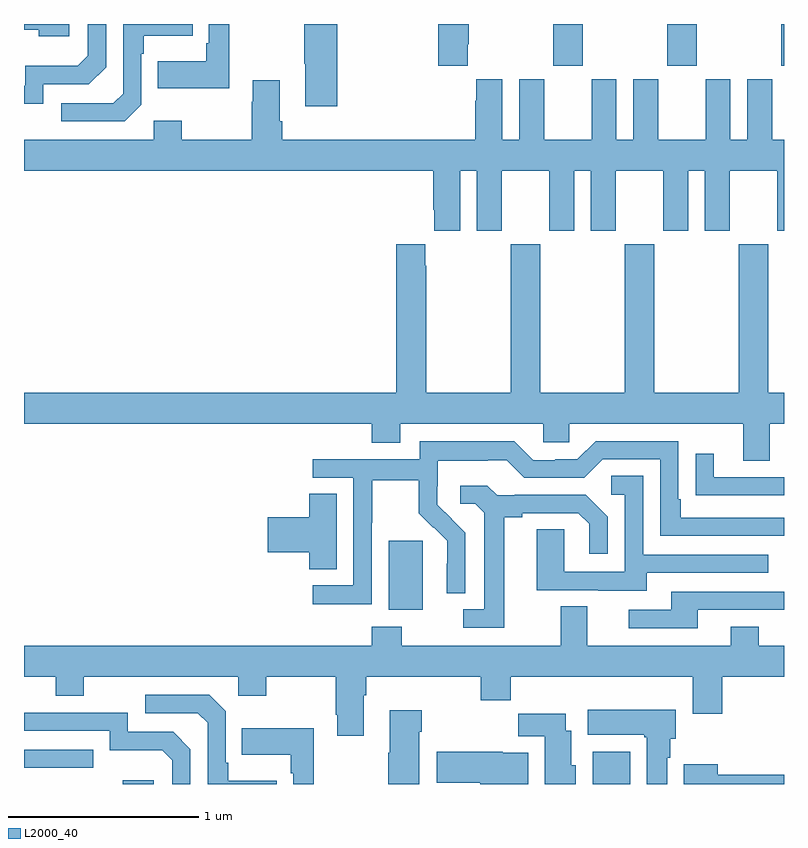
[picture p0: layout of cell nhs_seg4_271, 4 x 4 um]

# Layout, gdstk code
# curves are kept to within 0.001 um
import gdstk
lib = gdstk.Library(unit=1e-6, precision=1e-09)
def R(c, l, rs):  # rectangles x0, y0, x1, y1
    for r in rs: c.add(gdstk.rectangle(r[:2], r[2:], *l))
def P(c, l, *ps):  # polygons
    for p in ps: c.add(gdstk.Polygon(p, *l))
L2000_40 = (2000, 40)

nhs_seg4_271 = lib.new_cell('nhs_seg4_271')
R(nhs_seg4_271, L2000_40, [(123.521,818.9,123.682,818.92), (125.993,818.9,126.19,819.07), (123,818.985,123.365,819.081), (124.919,819.818,125.098,820.179), (125.785,822.681,125.94,822.9), (126.385,822.681,126.54,822.9), (126.985,822.681,127,822.9)])
P(nhs_seg4_271, L2000_40, [(124.081,822.9),(123.972,822.9),(123.972,822.799),(123.96,822.799),(123.96,822.703),(123.703,822.703),(123.703,822.563),(124.081,822.563)],
  [(123.238,822.9),(123,822.9),(123,822.87),(123.077,822.87),(123.077,822.836),(123.238,822.836)],
  [(125.335,822.793),(125.34,822.793),(125.34,822.9),(125.18,822.9),(125.18,822.681),(125.335,822.681)],
  [(123.618,822.474),(123.618,822.743),(123.631,822.743),(123.631,822.839),(123.887,822.839),(123.887,822.9),(123.522,822.9),(123.522,822.534),(123.471,822.483),(123.195,822.483),(123.195,822.387),(123.531,822.387)],
  [(124.649,822.9),(124.474,822.9),(124.474,822.691),(124.481,822.691),(124.481,822.468),(124.649,822.468)],
  [(123.102,822.582),(123.342,822.582),(123.432,822.672),(123.432,822.9),(123.336,822.9),(123.336,822.732),(123.283,822.679),(123.006,822.679),(123.006,822.576),(123,822.576),(123,822.48),(123.102,822.48)],
  [(125.296,822.128),(125.384,822.128),(125.384,821.811),(125.515,821.811),(125.515,822.128),(125.765,822.128),(125.765,821.811),(125.896,821.811),(125.896,822.128),(125.984,822.128),(125.984,821.811),(126.115,821.811),(126.115,822.128),(126.365,822.128),(126.365,821.811),(126.496,821.811),(126.496,822.128),(126.584,822.128),(126.584,821.811),(126.715,821.811),(126.715,822.128),(126.965,822.128),(126.965,821.811),(127,821.811),(127,822.292),(126.937,822.292),(126.937,822.61),(126.806,822.61),(126.806,822.292),(126.718,822.292),(126.718,822.61),(126.587,822.61),(126.587,822.292),(126.337,822.292),(126.337,822.61),(126.206,822.61),(126.206,822.292),(126.118,822.292),(126.118,822.61),(125.987,822.61),(125.987,822.292),(125.737,822.292),(125.737,822.61),(125.606,822.61),(125.606,822.292),(125.518,822.292),(125.518,822.61),(125.381,822.61),(125.381,822.497),(125.375,822.497),(125.375,822.292),(124.358,822.292),(124.358,822.388),(124.345,822.388),(124.345,822.604),(124.205,822.604),(124.205,822.491),(124.198,822.491),(124.198,822.292),(123.831,822.292),(123.831,822.391),(123.684,822.391),(123.684,822.292),(123,822.292),(123,822.128),(125.153,822.128),(125.153,821.923),(125.159,821.923),(125.159,821.811),(125.296,821.811)],
  [(126.925,820.796),(127,820.796),(127,820.96),(126.918,820.96),(126.918,821.74),(126.763,821.74),(126.763,820.96),(126.318,820.96),(126.318,821.74),(126.163,821.74),(126.163,820.96),(125.718,820.96),(125.718,821.74),(125.563,821.74),(125.563,820.96),(125.118,820.96),(125.118,821.627),(125.113,821.627),(125.113,821.74),(124.958,821.74),(124.958,820.96),(123,820.96),(123,820.796),(124.829,820.796),(124.829,820.697),(124.981,820.697),(124.981,820.796),(125.733,820.796),(125.733,820.698),(125.871,820.698),(125.871,820.796),(126.785,820.796),(126.785,820.602),(126.925,820.602)],
  [(124.83,820.276),(124.833,820.276),(124.833,820.5),(125.077,820.5),(125.077,820.325),(125.154,820.248),(125.157,820.251),(125.228,820.181),(125.228,820.058),(125.226,820.058),(125.226,819.904),(125.322,819.904),(125.322,820.222),(125.176,820.37),(125.176,820.467),(125.178,820.467),(125.178,820.601),(125.441,820.601),(125.441,820.605),(125.541,820.605),(125.634,820.512),(125.949,820.512),(126.045,820.608),(126.348,820.608),(126.348,820.206),(127,820.206),(127,820.302),(126.457,820.302),(126.457,820.399),(126.444,820.399),(126.444,820.704),(126.009,820.704),(125.913,820.608),(125.795,820.608),(125.795,820.605),(125.679,820.605),(125.579,820.705),(125.082,820.705),(125.082,820.608),(124.521,820.608),(124.521,820.512),(124.734,820.512),(124.734,819.945),(124.521,819.945),(124.521,819.847),(124.83,819.847)],
  [(127,820.515),(126.631,820.515),(126.631,820.639),(126.535,820.639),(126.535,820.42),(126.637,820.42),(126.637,820.419),(127,820.419)],
  [(126.277,820.011),(126.917,820.011),(126.917,820.107),(126.258,820.107),(126.258,820.523),(126.09,820.523),(126.09,820.422),(126.162,820.422),(126.162,820.017),(125.844,820.017),(125.844,820.241),(125.699,820.241),(125.699,819.921),(126.023,819.921),(126.023,819.917),(126.277,819.917)],
  [(125.527,820.304),(125.623,820.304),(125.623,820.326),(125.918,820.326),(125.975,820.269),(125.975,820.113),(126.072,820.113),(126.072,820.306),(125.956,820.422),(125.584,820.422),(125.584,820.419),(125.49,820.419),(125.438,820.471),(125.295,820.471),(125.295,820.374),(125.376,820.374),(125.423,820.327),(125.423,819.819),(125.313,819.819),(125.313,819.723),(125.527,819.723)],
  [(124.645,820.427),(124.502,820.427),(124.502,820.304),(124.284,820.304),(124.284,820.121),(124.502,820.121),(124.502,820.03),(124.645,820.03)],
  [(126.547,819.816),(127,819.816),(127,819.912),(126.407,819.912),(126.407,819.816),(126.183,819.816),(126.183,819.72),(126.547,819.72)],
  [(126.719,819.727),(126.719,819.628),(125.965,819.628),(125.965,819.836),(125.825,819.836),(125.825,819.628),(124.989,819.628),(124.989,819.727),(124.829,819.727),(124.829,819.628),(123,819.628),(123,819.464),(123.167,819.464),(123.167,819.365),(123.315,819.365),(123.315,819.464),(124.128,819.464),(124.128,819.365),(124.275,819.365),(124.275,819.464),(124.642,819.464),(124.642,819.265),(124.649,819.265),(124.649,819.153),(124.789,819.153),(124.789,819.368),(124.802,819.368),(124.802,819.464),(125.405,819.464),(125.405,819.34),(125.561,819.34),(125.561,819.464),(126.521,819.464),(126.521,819.27),(126.674,819.27),(126.674,819.464),(127,819.464),(127,819.628),(126.867,819.628),(126.867,819.727)],
  [(124.331,818.917),(124.075,818.917),(124.075,819.013),(124.062,819.013),(124.062,819.282),(123.975,819.369),(123.639,819.369),(123.639,819.273),(123.915,819.273),(123.966,819.222),(123.966,818.9),(124.331,818.9)],
  [(126.385,819.038),(126.4,819.038),(126.4,819.138),(126.43,819.138),(126.43,819.292),(125.966,819.292),(125.966,819.158),(126.265,819.158),(126.265,819.145),(126.278,819.145),(126.278,818.9),(126.385,818.9)],
  [(125.08,819.176),(125.093,819.176),(125.093,819.289),(124.925,819.289),(124.925,819.065),(124.918,819.065),(124.918,818.9),(125.08,818.9)],
  [(123.876,819.084),(123.786,819.174),(123.546,819.174),(123.546,819.276),(123,819.276),(123,819.18),(123.45,819.18),(123.45,819.077),(123.727,819.077),(123.78,819.024),(123.78,818.9),(123.876,818.9)],
  [(125.905,819),(125.881,819),(125.881,819.181),(125.851,819.181),(125.851,819.271),(125.602,819.271),(125.602,819.152),(125.741,819.152),(125.741,818.9),(125.905,818.9)],
  [(124.525,819.193),(124.147,819.193),(124.147,819.053),(124.404,819.053),(124.404,818.957),(124.416,818.957),(124.416,818.9),(124.525,818.9)],
  [(125.653,819.064),(125.52,819.064),(125.52,819.07),(125.172,819.07),(125.172,818.906),(125.402,818.906),(125.402,818.9),(125.653,818.9)],
  [(127,818.948),(126.652,818.948),(126.652,819.004),(126.473,819.004),(126.473,818.9),(127,818.9)])

lib.write_gds('nhs_seg4_271.gds')
